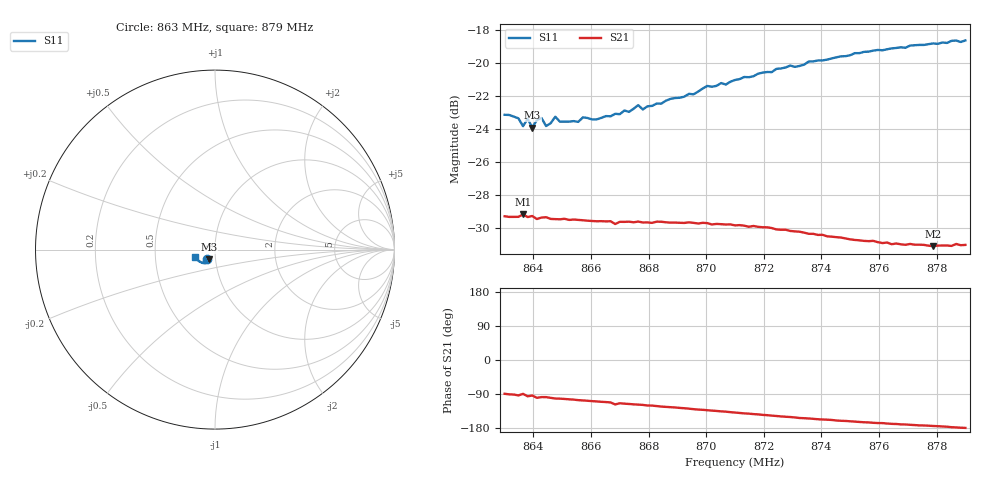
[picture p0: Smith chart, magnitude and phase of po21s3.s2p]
# HZ S RI R 50
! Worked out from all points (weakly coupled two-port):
!   101 points, 863 MHz to 879 MHz, reference 50 ohm
!   highest |S21| = -29.20 dB at 863.64 MHz (marker M1); lowest = -31.1 dB at 877.88 MHz (marker M2)
!   lowest |S11| = -23.9 dB at 863.96 MHz (marker M3), VSWR 1.14, Z = 46.4 - j5.02 ohm
!   |S11| at or under -10 dB: start of sweep to end of sweep
!   S12 and S22 are empty: the file has one direction only
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8.63e8  -0.0439 -0.054  0.000492 -0.0342  0 0  0 0
8.6348e8  -0.0436 -0.052  -0.00204 -0.034  0 0  0 0
8.6364e8  -0.0351 -0.0539  0.000419 -0.0347  0 0  0 0
8.638e8  -0.0399 -0.0548  -0.00343 -0.0339  0 0  0 0
8.6396e8  -0.034 -0.0538  -0.00221 -0.0342  0 0  0 0
8.6428e8  -0.039 -0.0558  -0.00466 -0.0336  0 0  0 0
8.6444e8  -0.036 -0.0533  -0.00469 -0.0337  0 0  0 0
8.6476e8  -0.0393 -0.0563  -0.00679 -0.0329  0 0  0 0
8.6492e8  -0.0358 -0.0558  -0.00699 -0.0328  0 0  0 0
8.6556e8  -0.0339 -0.0569  -0.00916 -0.0321  0 0  0 0
8.6572e8  -0.0345 -0.0591  -0.00955 -0.0319  0 0  0 0
8.662e8  -0.0345 -0.0579  -0.0109 -0.0312  0 0  0 0
8.6732e8  -0.0346 -0.0621  -0.0145 -0.0296  0 0  0 0
8.6764e8  -0.0361 -0.0651  -0.0154 -0.0292  0 0  0 0
8.678e8  -0.035 -0.0632  -0.0156 -0.0288  0 0  0 0
8.6844e8  -0.0376 -0.0652  -0.0179 -0.0277  0 0  0 0
8.7004e8  -0.0443 -0.0728  -0.0221 -0.024  0 0  0 0
8.71e8  -0.0492 -0.0739  -0.0241 -0.0212  0 0  0 0
8.7372e8  -0.0681 -0.0748  -0.0275 -0.0127  0 0  0 0
8.7644e8  -0.0923 -0.0612  -0.0276 -0.0056  0 0  0 0
8.7788e8  -0.1037 -0.0489  -0.0276 -0.00284  0 0  0 0
8.79e8  -0.1102 -0.0396  -0.028 -0.000393  0 0  0 0
